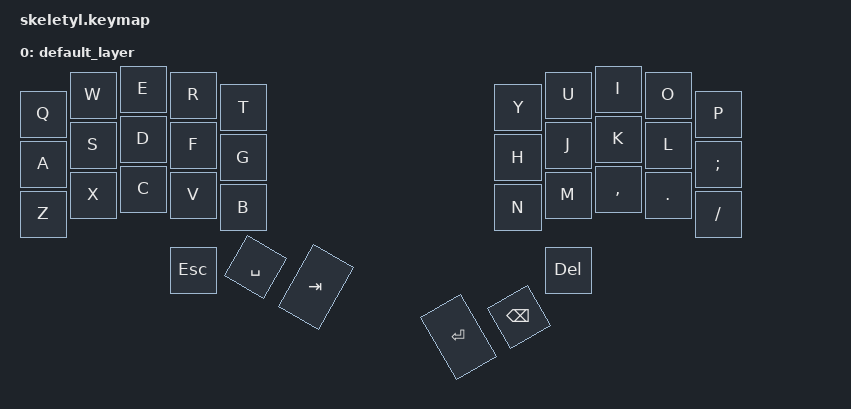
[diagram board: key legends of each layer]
/*
 * Copyright (c) 2020 ZMK Contributors
 *
 * SPDX-License-Identifier: MIT
 */


#include <behaviors.dtsi>
#include <dt-bindings/zmk/keys.h>
#include <dt-bindings/zmk/bt.h>

/ {
	keymap {
		compatible = "zmk,keymap";

		default_layer {
			bindings = <
   // ╭──────────────────────────────────────────────────────────────────╮ ╭──────────────────────────────────────────────────────────────────╮
        &kp Q        &kp W        &kp E        &kp R        &kp T            &kp Y        &kp U        &kp I        &kp O        &kp P
        &kp A        &kp S        &kp D        &kp F        &kp G            &kp H        &kp J        &kp K        &kp L        &kp SEMI
        &kp Z        &kp X        &kp C        &kp V        &kp B            &kp N        &kp M        &kp COMMA    &kp DOT      &kp SLASH
   // ╰──────────────────────────────────────────────────────────────────┤ ├──────────────────────────────────────────────────────────────────╯
                                  &kp ESC      &kp SPACE    &kp TAB          &kp ENTER    &kp BKSP     &kp DEL
   //                           ╰────────────────────────────────────────╯ ╰────────────────────────────────────────╯
			>;
		};
	};
};
